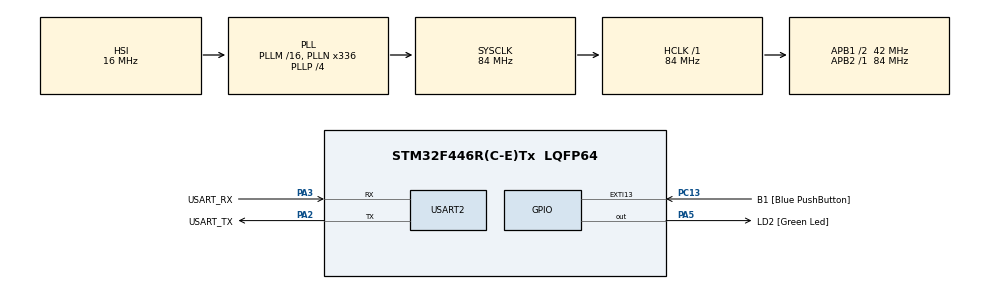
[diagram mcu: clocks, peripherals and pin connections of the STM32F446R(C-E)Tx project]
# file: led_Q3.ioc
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Mcu.Family=STM32F4
Mcu.Name=STM32F446R(C-E)Tx
Mcu.Package=LQFP64
NVIC.PriorityGroup=NVIC_PRIORITYGROUP_0
PA13.GPIO_Label=TMS
PA13.Mode=Serial_Wire
PA13.Signal=SYS_JTMS-SWDIO
PA14.GPIO_Label=TCK
PA14.Mode=Serial_Wire
PA14.Signal=SYS_JTCK-SWCLK
PA2.GPIO_Label=USART_TX
PA2.Mode=Asynchronous
PA2.Signal=USART2_TX
PA3.GPIO_Label=USART_RX
PA3.Mode=Asynchronous
PA3.Signal=USART2_RX
PA5.GPIO_Label=LD2 [Green Led]
PA5.Signal=GPIO_Output
PB3.GPIO_Label=SWO
PB3.Signal=SYS_JTDO-SWO
PC13.GPIO_Label=B1 [Blue PushButton]
PC13.GPIO_ModeDefaultEXTI=GPIO_MODE_IT_FALLING
PC13.Signal=GPXTI13
PC14-OSC32_IN.Mode=LSE-External-Oscillator
PC14-OSC32_IN.Signal=RCC_OSC32_IN
PC15-OSC32_OUT.Mode=LSE-External-Oscillator
PC15-OSC32_OUT.Signal=RCC_OSC32_OUT
PH0-OSC_IN.Mode=HSE-External-Oscillator
PH0-OSC_IN.Signal=RCC_OSC_IN
PH1-OSC_OUT.Mode=HSE-External-Oscillator
PH1-OSC_OUT.Signal=RCC_OSC_OUT
ProjectManager.HeapSize=0x200
ProjectManager.StackSize=0x400
ProjectManager.TargetToolchain=STM32CubeIDE
RCC.48MHZClocksFreq_Value=84000000
RCC.AHBFreq_Value=84000000
RCC.APB1CLKDivider=RCC_HCLK_DIV2
RCC.APB1Freq_Value=42000000
RCC.APB1TimFreq_Value=84000000
RCC.APB2Freq_Value=84000000
RCC.APB2TimFreq_Value=84000000
RCC.CortexFreq_Value=84000000
RCC.FLatency-AdvancedSettings=FLASH_LATENCY_2
RCC.HCLKFreq_Value=84000000
RCC.HSE_VALUE=8000000
RCC.HSI_VALUE=16000000
RCC.PLLN=336
RCC.PLLP=RCC_PLLP_DIV4
RCC.SYSCLKFreq_VALUE=84000000
RCC.SYSCLKSource=RCC_SYSCLKSOURCE_PLLCLK
RCC.USBFreq_Value=168000000
RCC.VCOOutputFreq_Value=336000000
USART2.VirtualMode=VM_ASYNC
board=NUCLEO-F446RE

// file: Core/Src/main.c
/* USER CODE BEGIN Header */
/**
  ******************************************************************************
  * @file           : main.c
  * @brief          : Main program body
  ******************************************************************************
  * @attention
  *
  * Copyright (c) 2023 STMicroelectronics.
  * All rights reserved.
  *
  * This software is licensed under terms that can be found in the LICENSE file
  * in the root directory of this software component.
  * If no LICENSE file comes with this software, it is provided AS-IS.
  *
  ******************************************************************************
  */
/* USER CODE END Header */
#include "main.h"

UART_HandleTypeDef huart2;

void SystemClock_Config(void);
static void MX_GPIO_Init(void);
static void MX_USART2_UART_Init(void);

/* USER CODE BEGIN 0 */
void Led_Toggleon()
{
	//for(int i=0;i<count;i++){
	HAL_GPIO_WritePin(GPIOA,GPIO_PIN_5,1);
	HAL_Delay(100);

	//}

	}
void Led_Toggleoff()
{
	//for(int i=0;i<count;i++){
	HAL_GPIO_WritePin(GPIOA,GPIO_PIN_5,0);
	HAL_Delay(100);
	//}

	}
/* USER CODE END 0 */

int main(void)
{

  /* MCU Configuration--------------------------------------------------------*/

  /* Reset of all peripherals, Initializes the Flash interface and the Systick. */
  HAL_Init();

  /* Configure the system clock */
  SystemClock_Config();

  /* Initialize all configured peripherals */
  MX_GPIO_Init();
  MX_USART2_UART_Init();

  /* Infinite loop */
  /* USER CODE BEGIN WHILE */
  while (1)
  {
	  int count=1;
      while(count<4){

  	if((HAL_GPIO_ReadPin(GPIOC,GPIO_PIN_13))==0){
  		count++;
       while(1){
  		if(count==1){
  			Led_Toggleon();

  		}
  		else Led_Toggleon();
  		     HAL_Delay(5000);
  		     break;
       }
       count++;
       if(count==2){
    	   Led_Toggleoff();
       }
       else Led_Toggleoff();
            HAL_Delay(5000);
            break;

  	}
  	else {
  		Led_Toggleoff();
  	}

  	}
  }
    /* USER CODE END WHILE */

  }

void SystemClock_Config(void)
{
  RCC_OscInitTypeDef RCC_OscInitStruct = {0};
  RCC_ClkInitTypeDef RCC_ClkInitStruct = {0};

  /** Configure the main internal regulator output voltage
  */
  __HAL_RCC_PWR_CLK_ENABLE();
  __HAL_PWR_VOLTAGESCALING_CONFIG(PWR_REGULATOR_VOLTAGE_SCALE3);

  /** Initializes the RCC Oscillators according to the specified parameters
  * in the RCC_OscInitTypeDef structure.
  */
  RCC_OscInitStruct.OscillatorType = RCC_OSCILLATORTYPE_HSI;
  RCC_OscInitStruct.HSIState = RCC_HSI_ON;
  RCC_OscInitStruct.HSICalibrationValue = RCC_HSICALIBRATION_DEFAULT;
  RCC_OscInitStruct.PLL.PLLState = RCC_PLL_ON;
  RCC_OscInitStruct.PLL.PLLSource = RCC_PLLSOURCE_HSI;
  RCC_OscInitStruct.PLL.PLLM = 16;
  RCC_OscInitStruct.PLL.PLLN = 336;
  RCC_OscInitStruct.PLL.PLLP = RCC_PLLP_DIV4;
  RCC_OscInitStruct.PLL.PLLQ = 2;
  RCC_OscInitStruct.PLL.PLLR = 2;
  if (HAL_RCC_OscConfig(&RCC_OscInitStruct) != HAL_OK)
  {
    Error_Handler();
  }

  /** Initializes the CPU, AHB and APB buses clocks
  */
  RCC_ClkInitStruct.ClockType = RCC_CLOCKTYPE_HCLK|RCC_CLOCKTYPE_SYSCLK
                              |RCC_CLOCKTYPE_PCLK1|RCC_CLOCKTYPE_PCLK2;
  RCC_ClkInitStruct.SYSCLKSource = RCC_SYSCLKSOURCE_PLLCLK;
  RCC_ClkInitStruct.AHBCLKDivider = RCC_SYSCLK_DIV1;
  RCC_ClkInitStruct.APB1CLKDivider = RCC_HCLK_DIV2;
  RCC_ClkInitStruct.APB2CLKDivider = RCC_HCLK_DIV1;

  if (HAL_RCC_ClockConfig(&RCC_ClkInitStruct, FLASH_LATENCY_2) != HAL_OK)
  {
    Error_Handler();
  }
}

static void MX_USART2_UART_Init(void)
{

  huart2.Instance = USART2;
  huart2.Init.BaudRate = 115200;
  huart2.Init.WordLength = UART_WORDLENGTH_8B;
  huart2.Init.StopBits = UART_STOPBITS_1;
  huart2.Init.Parity = UART_PARITY_NONE;
  huart2.Init.Mode = UART_MODE_TX_RX;
  huart2.Init.HwFlowCtl = UART_HWCONTROL_NONE;
  huart2.Init.OverSampling = UART_OVERSAMPLING_16;
  if (HAL_UART_Init(&huart2) != HAL_OK)
  {
    Error_Handler();
  }

}

static void MX_GPIO_Init(void)
{
  GPIO_InitTypeDef GPIO_InitStruct = {0};

  /* GPIO Ports Clock Enable */
  __HAL_RCC_GPIOC_CLK_ENABLE();
  __HAL_RCC_GPIOH_CLK_ENABLE();
  __HAL_RCC_GPIOA_CLK_ENABLE();
  __HAL_RCC_GPIOB_CLK_ENABLE();

  /*Configure GPIO pin Output Level */
  HAL_GPIO_WritePin(LD2_GPIO_Port, LD2_Pin, GPIO_PIN_RESET);

  /*Configure GPIO pin : B1_Pin */
  GPIO_InitStruct.Pin = B1_Pin;
  GPIO_InitStruct.Mode = GPIO_MODE_IT_FALLING;
  GPIO_InitStruct.Pull = GPIO_NOPULL;
  HAL_GPIO_Init(B1_GPIO_Port, &GPIO_InitStruct);

  /*Configure GPIO pin : LD2_Pin */
  GPIO_InitStruct.Pin = LD2_Pin;
  GPIO_InitStruct.Mode = GPIO_MODE_OUTPUT_PP;
  GPIO_InitStruct.Pull = GPIO_NOPULL;
  GPIO_InitStruct.Speed = GPIO_SPEED_FREQ_LOW;
  HAL_GPIO_Init(LD2_GPIO_Port, &GPIO_InitStruct);

}

void Error_Handler(void)
{
  __disable_irq();
  while (1)
  {
  }
}
